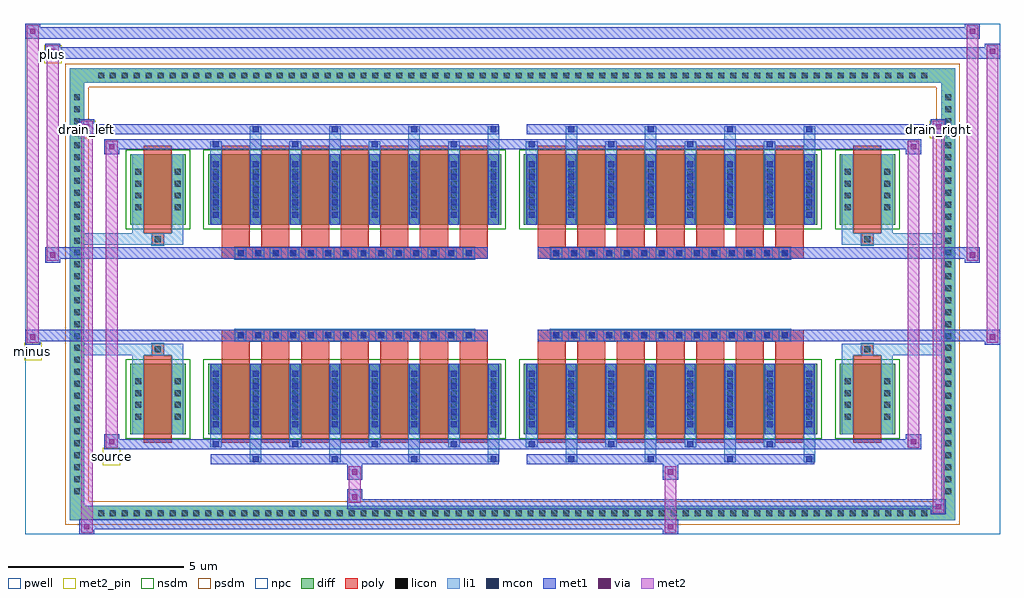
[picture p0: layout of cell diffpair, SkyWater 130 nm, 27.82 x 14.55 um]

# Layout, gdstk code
import gdstk
lib = gdstk.Library(unit=1e-6, precision=5e-09)
def R(c, l, rs):  # rectangles x0, y0, x1, y1
    for r in rs: c.add(gdstk.rectangle(r[:2], r[2:], *l))
def A(c, l, x, y, w, h, nx, ny, dx, dy):  # array of equal rectangles
    R(c, l, [(x+i*dx, y+j*dy, x+i*dx+w, y+j*dy+h) for i in range(nx) for j in range(ny)])
def P(c, l, *ps):  # polygons
    for p in ps: c.add(gdstk.Polygon(p, *l))
pwell = (64, 44)
diff = (65, 20)
poly = (66, 20)
licon = (66, 44)
li1 = (67, 20)
mcon = (67, 44)
met1 = (68, 20)
via = (68, 44)
met2_pin = (69, 16)
met2 = (69, 20)
nsdm = (93, 44)
psdm = (94, 20)
npc = (95, 20)

diffpair = lib.new_cell('diffpair')
R(diffpair, pwell, [(-13.89,-6.84,13.89,7.71), (-11.21,-5.03,-0.01,-0.805), (0.01,-5.03,11.21,-0.805), (-11.21,0.805,-0.01,5.03), (0.01,0.805,11.21,5.03)])
A(diffpair, diff, -11.935, -6.44, 0.41, 0.41, 70, 2, 0.34, 12.47)
A(diffpair, diff, -12.62, -5.815, 0.41, 0.41, 1, 34, 0, 0.34)
A(diffpair, diff, 12.21, -5.815, 0.41, 0.41, 1, 34, 0, 0.34)
R(diffpair, diff, [(-11.935,-6.44,11.935,-6.03), (-12.62,-5.815,-12.21,5.815), (12.21,-5.815,12.62,5.815), (-10.9,-3.985,-9.32,-1.985), (-8.68,-3.985,-0.32,-1.985), (0.32,-3.985,8.68,-1.985), (9.32,-3.985,10.9,-1.985), (-10.9,1.985,-9.32,3.985), (-8.68,1.985,-0.32,3.985), (0.32,1.985,8.68,3.985), (9.32,1.985,10.9,3.985), (-11.935,6.03,11.935,6.44)])
P(diffpair, diff, [(12.62,6.44),(-12.62,6.44),(-12.62,-6.03),(-12.21,-6.03),(-12.21,6.03),(12.21,6.03),(12.21,-6.03),(-12.21,-6.03),(-12.62,-6.03),(-12.62,-6.44),(12.62,-6.44)])
A(diffpair, poly, -8.29, -4.235, 0.8, 2.5, 7, 2, 1.13, 5.97)
A(diffpair, poly, 0.71, -4.235, 0.8, 2.5, 7, 2, 1.13, 5.97)
A(diffpair, poly, -8.29, -1.735, 0.8, 0.4, 7, 2, 1.13, 3.07)
A(diffpair, poly, 0.71, -1.735, 0.8, 0.4, 7, 2, 1.13, 3.07)
A(diffpair, poly, -7.915, -1.335, 0.33, 0.33, 14, 2, 0.5, 2.34)
A(diffpair, poly, 1.085, -1.335, 0.33, 0.33, 14, 2, 0.5, 2.34)
R(diffpair, poly, [(-10.51,-4.235,-9.71,-1.735), (9.71,-4.235,10.51,-1.735), (-10.275,-1.735,-9.945,-1.405), (-10.275,-1.735,-9.945,-1.405), (9.945,-1.735,10.275,-1.405), (9.945,-1.735,10.275,-1.405), (-8.29,-1.335,-0.71,-1.005), (0.71,-1.335,8.29,-1.005), (-8.29,1.005,-0.71,1.335), (0.71,1.005,8.29,1.335), (-10.275,1.405,-9.945,1.735), (-10.275,1.405,-9.945,1.735), (9.945,1.405,10.275,1.735), (9.945,1.405,10.275,1.735), (-10.51,1.735,-9.71,4.235), (9.71,1.735,10.51,4.235)])
A(diffpair, licon, -11.815, -6.32, 0.17, 0.17, 70, 2, 0.34, 12.47)
A(diffpair, licon, -12.5, -5.695, 0.17, 0.17, 1, 34, 0, 0.34)
A(diffpair, licon, 12.33, -5.695, 0.17, 0.17, 1, 34, 0, 0.34)
A(diffpair, licon, -10.76, -3.58, 0.17, 0.17, 1, 4, 0, 0.34)
A(diffpair, licon, -9.63, -3.58, 0.17, 0.17, 1, 4, 0, 0.34)
A(diffpair, licon, -8.54, -3.58, 0.17, 0.17, 8, 4, 1.13, 0.34)
A(diffpair, licon, 0.46, -3.58, 0.17, 0.17, 8, 4, 1.13, 0.34)
A(diffpair, licon, 9.46, -3.58, 0.17, 0.17, 1, 4, 0, 0.34)
A(diffpair, licon, 10.59, -3.58, 0.17, 0.17, 1, 4, 0, 0.34)
A(diffpair, licon, -7.835, -1.255, 0.17, 0.17, 14, 2, 0.5, 2.34)
A(diffpair, licon, 1.165, -1.255, 0.17, 0.17, 14, 2, 0.5, 2.34)
A(diffpair, licon, -10.76, 2.39, 0.17, 0.17, 1, 4, 0, 0.34)
A(diffpair, licon, -9.63, 2.39, 0.17, 0.17, 1, 4, 0, 0.34)
A(diffpair, licon, -8.54, 2.39, 0.17, 0.17, 8, 4, 1.13, 0.34)
A(diffpair, licon, 0.46, 2.39, 0.17, 0.17, 8, 4, 1.13, 0.34)
A(diffpair, licon, 9.46, 2.39, 0.17, 0.17, 1, 4, 0, 0.34)
A(diffpair, licon, 10.59, 2.39, 0.17, 0.17, 1, 4, 0, 0.34)
R(diffpair, licon, [(-10.195,-1.655,-10.025,-1.485), (10.025,-1.655,10.195,-1.485), (-10.195,1.485,-10.025,1.655), (10.025,1.485,10.195,1.655)])
A(diffpair, li1, -11.895, -6.4, 0.33, 0.33, 70, 2, 0.34, 12.47)
A(diffpair, li1, -12.58, -5.775, 0.33, 0.33, 1, 34, 0, 0.34)
A(diffpair, li1, 12.25, -5.775, 0.33, 0.33, 1, 34, 0, 0.34)
A(diffpair, li1, -7.49, -4.79, 0.33, 0.805, 4, 2, 2.26, 8.775)
A(diffpair, li1, -7.41, -4.79, 0.17, 0.17, 4, 2, 2.26, 9.41)
A(diffpair, li1, 1.51, -4.79, 0.33, 0.805, 4, 2, 2.26, 8.775)
A(diffpair, li1, 1.59, -4.79, 0.17, 0.17, 4, 2, 2.26, 9.41)
A(diffpair, li1, -8.62, -4.36, 0.33, 0.375, 4, 2, 2.26, 8.345)
A(diffpair, li1, -8.54, -4.36, 0.17, 0.17, 4, 2, 2.26, 8.55)
A(diffpair, li1, 0.38, -4.36, 0.33, 0.375, 4, 2, 2.26, 8.345)
A(diffpair, li1, 0.46, -4.36, 0.17, 0.17, 4, 2, 2.26, 8.55)
A(diffpair, li1, -8.62, -3.985, 0.33, 2, 8, 2, 1.13, 5.97)
A(diffpair, li1, 0.38, -3.985, 0.33, 2, 8, 2, 1.13, 5.97)
A(diffpair, li1, -8.54, -3.79, 0.17, 0.17, 8, 5, 1.13, 0.36)
A(diffpair, li1, -8.54, -3.79, 0.17, 1.61, 8, 2, 1.13, 5.97)
A(diffpair, li1, 0.46, -3.79, 0.17, 0.17, 8, 5, 1.13, 0.36)
A(diffpair, li1, 0.46, -3.79, 0.17, 1.61, 8, 2, 1.13, 5.97)
A(diffpair, li1, -10.84, -3.66, 0.33, 0.33, 1, 4, 0, 0.34)
A(diffpair, li1, -9.71, -3.66, 0.33, 0.33, 1, 4, 0, 0.34)
A(diffpair, li1, -8.62, -3.66, 0.33, 0.33, 8, 4, 1.13, 0.34)
A(diffpair, li1, 0.38, -3.66, 0.33, 0.33, 8, 4, 1.13, 0.34)
A(diffpair, li1, 9.38, -3.66, 0.33, 0.33, 1, 4, 0, 0.34)
A(diffpair, li1, 10.51, -3.66, 0.33, 0.33, 1, 4, 0, 0.34)
A(diffpair, li1, -7.915, -1.335, 0.33, 0.33, 14, 2, 0.5, 2.34)
A(diffpair, li1, 1.085, -1.335, 0.33, 0.33, 14, 2, 0.5, 2.34)
A(diffpair, li1, -8.54, 2.18, 0.17, 0.17, 8, 5, 1.13, 0.36)
A(diffpair, li1, 0.46, 2.18, 0.17, 0.17, 8, 5, 1.13, 0.36)
A(diffpair, li1, -10.84, 2.31, 0.33, 0.33, 1, 4, 0, 0.34)
A(diffpair, li1, -9.71, 2.31, 0.33, 0.33, 1, 4, 0, 0.34)
A(diffpair, li1, -8.62, 2.31, 0.33, 0.33, 8, 4, 1.13, 0.34)
A(diffpair, li1, 0.38, 2.31, 0.33, 0.33, 8, 4, 1.13, 0.34)
A(diffpair, li1, 9.38, 2.31, 0.33, 0.33, 1, 4, 0, 0.34)
A(diffpair, li1, 10.51, 2.31, 0.33, 0.33, 1, 4, 0, 0.34)
R(diffpair, li1, [(-12.62,-6.44,-12.21,-6.03), (-12.62,-6.44,-12.21,-6.03), (-12.21,-6.44,12.21,-6.03), (12.21,-6.44,12.62,-6.03), (12.21,-6.44,12.62,-6.03), (-12.62,-6.03,-12.21,6.03), (12.21,-6.03,12.62,6.03), (-10.84,-3.985,-10.51,-1.985), (-9.71,-3.985,-9.38,-1.985), (9.38,-3.985,9.71,-1.985), (10.51,-3.985,10.84,-1.985), (-10.84,-1.985,-10.51,-1.405), (-9.71,-1.985,-9.38,-1.405), (9.38,-1.985,9.71,-1.405), (10.51,-1.985,10.84,-1.405), (-12.62,-1.735,-10.275,-1.405), (-10.84,-1.735,-10.275,-1.405), (-10.275,-1.735,-9.945,-1.405), (-9.945,-1.735,-9.38,-1.405), (9.38,-1.735,9.945,-1.405), (9.945,-1.735,10.275,-1.405), (9.945,-1.735,12.62,-1.405), (10.275,-1.735,10.84,-1.405), (-12.62,1.405,-10.275,1.735), (-10.84,1.405,-10.275,1.735), (-10.84,1.405,-10.51,1.985), (-10.275,1.405,-9.945,1.735), (-9.945,1.405,-9.38,1.735), (-9.71,1.405,-9.38,1.985), (9.38,1.405,9.945,1.735), (9.38,1.405,9.71,1.985), (9.945,1.405,10.275,1.735), (9.945,1.405,12.62,1.735), (10.275,1.405,10.84,1.735), (10.51,1.405,10.84,1.985), (-10.84,1.985,-10.51,3.985), (-9.71,1.985,-9.38,3.985), (9.38,1.985,9.71,3.985), (10.51,1.985,10.84,3.985), (-12.62,6.03,-12.21,6.44), (-12.62,6.03,-12.21,6.44), (-12.21,6.03,12.21,6.44), (12.21,6.03,12.62,6.44), (12.21,6.03,12.62,6.44)])
A(diffpair, mcon, -7.41, -4.79, 0.17, 0.17, 4, 2, 2.26, 9.41)
A(diffpair, mcon, 1.59, -4.79, 0.17, 0.17, 4, 2, 2.26, 9.41)
A(diffpair, mcon, -8.54, -4.36, 0.17, 0.17, 4, 2, 2.26, 8.55)
A(diffpair, mcon, 0.46, -4.36, 0.17, 0.17, 4, 2, 2.26, 8.55)
A(diffpair, mcon, -8.54, -3.79, 0.17, 0.17, 8, 5, 1.13, 0.36)
A(diffpair, mcon, 0.46, -3.79, 0.17, 0.17, 8, 5, 1.13, 0.36)
A(diffpair, mcon, -7.835, -1.255, 0.17, 0.17, 14, 2, 0.5, 2.34)
A(diffpair, mcon, 1.165, -1.255, 0.17, 0.17, 14, 2, 0.5, 2.34)
A(diffpair, mcon, -8.54, 2.18, 0.17, 0.17, 8, 5, 1.13, 0.36)
A(diffpair, mcon, 0.46, 2.18, 0.17, 0.17, 8, 5, 1.13, 0.36)
A(diffpair, met1, -7.47, -4.85, 0.29, 0.29, 4, 2, 2.26, 9.41)
A(diffpair, met1, 1.53, -4.85, 0.29, 0.29, 4, 2, 2.26, 9.41)
A(diffpair, met1, -8.6, -4.42, 0.29, 0.29, 4, 2, 2.26, 8.55)
A(diffpair, met1, 0.4, -4.42, 0.29, 0.29, 4, 2, 2.26, 8.55)
A(diffpair, met1, -8.6, -3.985, 0.29, 2, 8, 2, 1.13, 5.97)
A(diffpair, met1, 0.4, -3.985, 0.29, 2, 8, 2, 1.13, 5.97)
A(diffpair, met1, -8.6, -3.85, 0.29, 0.29, 8, 5, 1.13, 0.36)
A(diffpair, met1, 0.4, -3.85, 0.29, 0.29, 8, 5, 1.13, 0.36)
A(diffpair, met1, -7.895, -1.315, 0.29, 0.29, 14, 2, 0.5, 2.34)
A(diffpair, met1, 1.105, -1.315, 0.29, 0.29, 14, 2, 0.5, 2.34)
A(diffpair, met1, -8.6, 2.12, 0.29, 0.29, 8, 5, 1.13, 0.36)
A(diffpair, met1, 0.4, 2.12, 0.29, 0.29, 8, 5, 1.13, 0.36)
R(diffpair, met1, [(-12.35,-6.84,-11.92,-6.41), (4.285,-6.84,4.715,-6.41), (-12.35,-6.7,4.715,-6.41), (11.92,-6.27,12.35,-5.84), (-4.715,-6.13,12.35,-5.84), (-4.715,-5.99,-4.285,-5.56), (-4.715,-5.28,-4.285,-4.85), (4.285,-5.28,4.715,-4.85), (-8.6,-4.85,-0.4,-4.56), (0.4,-4.85,8.6,-4.56), (-11.64,-4.42,-11.21,-3.99), (-11.64,-4.42,-8.6,-4.13), (-8.6,-4.42,-0.4,-4.13), (-0.4,-4.42,0.4,-4.13), (0.4,-4.42,8.6,-4.13), (8.6,-4.42,11.64,-4.13), (11.21,-4.42,11.64,-3.99), (-13.89,-1.435,-13.46,-1.005), (13.46,-1.435,13.89,-1.005), (-13.89,-1.335,-0.71,-1.005), (-8.29,-1.335,-0.71,-1.005), (0.71,-1.335,8.29,-1.005), (0.71,-1.335,13.89,-1.005), (-13.32,0.905,-12.89,1.335), (12.89,0.905,13.32,1.335), (-13.32,1.005,-8.29,1.335), (-8.29,1.005,-0.71,1.335), (0.71,1.005,8.29,1.335), (8.29,1.005,13.32,1.335), (-11.64,3.99,-11.21,4.42), (11.21,3.99,11.64,4.42), (-11.64,4.13,-8.6,4.42), (-8.6,4.13,-0.4,4.42), (-0.4,4.13,0.4,4.42), (0.4,4.13,8.6,4.42), (8.6,4.13,11.64,4.42), (-12.35,4.56,-11.92,4.99), (-12.35,4.56,-8.6,4.85), (-8.6,4.56,-0.4,4.85), (0.4,4.56,8.6,4.85), (8.6,4.56,12.35,4.85), (11.92,4.56,12.35,4.99), (-13.32,6.71,-12.89,7.14), (-13.32,6.71,-11.21,7.04), (-11.21,6.71,11.21,7.04), (11.21,6.71,13.89,7.04), (13.46,6.71,13.89,7.14), (-13.89,7.28,-13.46,7.71), (-13.89,7.28,-11.21,7.61), (-11.21,7.28,11.21,7.61), (11.21,7.28,13.32,7.61), (12.89,7.28,13.32,7.71)])
R(diffpair, via, [(-12.21,-6.7,-12.06,-6.55), (4.425,-6.7,4.575,-6.55), (12.06,-6.13,12.21,-5.98), (-4.575,-5.85,-4.425,-5.7), (-4.575,-5.14,-4.425,-4.99), (4.425,-5.14,4.575,-4.99), (-11.5,-4.28,-11.35,-4.13), (11.35,-4.28,11.5,-4.13), (-13.75,-1.295,-13.6,-1.145), (13.6,-1.295,13.75,-1.145), (-13.18,1.045,-13.03,1.195), (13.03,1.045,13.18,1.195), (-11.5,4.13,-11.35,4.28), (11.35,4.13,11.5,4.28), (-12.21,4.7,-12.06,4.85), (12.06,4.7,12.21,4.85), (-13.18,6.85,-13.03,7), (13.6,6.85,13.75,7), (-13.75,7.42,-13.6,7.57), (13.03,7.42,13.18,7.57)])
R(diffpair, met2_pin, [(-11.675,-4.87,-11.175,-4.37), (-13.925,-1.885,-13.425,-1.385), (-12.385,4.44,-11.885,4.94), (11.885,4.44,12.385,4.94), (-13.355,6.59,-12.855,7.09)])
R(diffpair, met2, [(-12.3,-6.79,-11.97,-6.46), (-12.3,-6.79,-11.97,4.94), (4.335,-6.79,4.665,-6.46), (4.335,-6.46,4.665,-5.23), (11.97,-6.22,12.3,-5.89), (11.97,-6.22,12.3,4.94), (-4.665,-5.94,-4.335,-5.61), (-4.665,-5.61,-4.335,-5.23), (-4.665,-5.23,-4.335,-4.9), (4.335,-5.23,4.665,-4.9), (-11.59,-4.37,-11.26,-4.04), (-11.59,-4.37,-11.26,4.37), (11.26,-4.37,11.59,-4.04), (11.26,-4.37,11.59,4.37), (-13.84,-1.385,-13.51,-1.055), (-13.84,-1.385,-13.51,7.66), (13.51,-1.385,13.84,-1.055), (13.51,-1.385,13.84,7.09), (-13.27,0.955,-12.94,1.285), (-13.27,0.955,-12.94,7.09), (12.94,0.955,13.27,1.285), (12.94,0.955,13.27,7.66), (-11.59,4.04,-11.26,4.37), (11.26,4.04,11.59,4.37), (-12.3,4.61,-11.97,4.94), (11.97,4.61,12.3,4.94), (-13.27,6.76,-12.94,7.09), (13.51,6.76,13.84,7.09), (-13.84,7.33,-13.51,7.66), (12.94,7.33,13.27,7.66)])
P(diffpair, met2, [(13.84,-1.385),(13.84,-1.385),(13.84,-1.055),(13.84,-1.055)],
  [(13.84,6.76),(13.84,6.76),(13.84,7.09),(13.84,7.09)],
  [(-13.51,-1.385),(-13.51,-1.385),(-13.51,-1.055),(-13.51,-1.055)],
  [(-13.51,7.33),(-13.51,7.33),(-13.51,7.66),(-13.51,7.66)],
  [(13.27,0.955),(13.27,0.955),(13.27,1.285),(13.27,1.285)],
  [(13.27,7.33),(13.27,7.33),(13.27,7.66),(13.27,7.66)],
  [(-12.94,0.955),(-12.94,0.955),(-12.94,1.285),(-12.94,1.285)],
  [(-12.94,6.76),(-12.94,6.76),(-12.94,7.09),(-12.94,7.09)],
  [(-11.97,-6.79),(-11.97,-6.79),(-11.97,-6.46),(-11.97,-6.46)],
  [(-11.97,4.61),(-11.97,4.61),(-11.97,4.94),(-11.97,4.94)],
  [(12.3,-6.22),(12.3,-6.22),(12.3,-5.89),(12.3,-5.89)],
  [(12.3,4.61),(12.3,4.61),(12.3,4.94),(12.3,4.94)],
  [(-11.26,-4.37),(-11.26,-4.37),(-11.26,-4.04),(-11.26,-4.04)],
  [(-11.26,4.04),(-11.26,4.04),(-11.26,4.37),(-11.26,4.37)],
  [(11.59,-4.37),(11.59,-4.37),(11.59,-4.04),(11.59,-4.04)],
  [(11.59,4.04),(11.59,4.04),(11.59,4.37),(11.59,4.37)])
R(diffpair, nsdm, [(-11.03,-4.115,-9.19,-1.855), (-8.81,-4.115,-0.19,-1.855), (0.19,-4.115,8.81,-1.855), (9.19,-4.115,11.03,-1.855), (-11.03,1.855,-9.19,4.115), (-8.81,1.855,-0.19,4.115), (0.19,1.855,8.81,4.115), (9.19,1.855,11.03,4.115)])
P(diffpair, psdm, [(12.75,6.57),(-12.75,6.57),(-12.75,-5.9),(-12.08,-5.9),(-12.08,5.9),(12.08,5.9),(12.08,-5.9),(-12.08,-5.9),(-12.75,-5.9),(-12.75,-6.57),(12.75,-6.57)])
A(diffpair, npc, -7.935, -1.355, 0.37, 0.37, 14, 2, 0.5, 2.34)
A(diffpair, npc, 1.065, -1.355, 0.37, 0.37, 14, 2, 0.5, 2.34)
R(diffpair, npc, [(-10.295,-1.755,-9.925,-1.385), (9.925,-1.755,10.295,-1.385), (-7.935,-1.355,-7.065,-0.985), (-7.935,-1.355,-7.065,-0.985), (-7.435,-1.355,-6.565,-0.985), (-7.435,-1.355,-6.565,-0.985), (-6.935,-1.355,-6.065,-0.985), (-6.935,-1.355,-6.065,-0.985), (-6.435,-1.355,-5.565,-0.985), (-6.435,-1.355,-5.565,-0.985), (-5.935,-1.355,-5.065,-0.985), (-5.935,-1.355,-5.065,-0.985), (-5.435,-1.355,-4.565,-0.985), (-5.435,-1.355,-4.565,-0.985), (-4.935,-1.355,-4.065,-0.985), (-4.935,-1.355,-4.065,-0.985), (-4.435,-1.355,-3.565,-0.985), (-4.435,-1.355,-3.565,-0.985), (-3.935,-1.355,-3.065,-0.985), (-3.935,-1.355,-3.065,-0.985), (-3.435,-1.355,-2.565,-0.985), (-3.435,-1.355,-2.565,-0.985), (-2.935,-1.355,-2.065,-0.985), (-2.935,-1.355,-2.065,-0.985), (-2.435,-1.355,-1.565,-0.985), (-2.435,-1.355,-1.565,-0.985), (-1.935,-1.355,-1.065,-0.985), (-1.935,-1.355,-1.065,-0.985), (1.065,-1.355,1.935,-0.985), (1.065,-1.355,1.935,-0.985), (1.565,-1.355,2.435,-0.985), (1.565,-1.355,2.435,-0.985), (2.065,-1.355,2.935,-0.985), (2.065,-1.355,2.935,-0.985), (2.565,-1.355,3.435,-0.985), (2.565,-1.355,3.435,-0.985), (3.065,-1.355,3.935,-0.985), (3.065,-1.355,3.935,-0.985), (3.565,-1.355,4.435,-0.985), (3.565,-1.355,4.435,-0.985), (4.065,-1.355,4.935,-0.985), (4.065,-1.355,4.935,-0.985), (4.565,-1.355,5.435,-0.985), (4.565,-1.355,5.435,-0.985), (5.065,-1.355,5.935,-0.985), (5.065,-1.355,5.935,-0.985), (5.565,-1.355,6.435,-0.985), (5.565,-1.355,6.435,-0.985), (6.065,-1.355,6.935,-0.985), (6.065,-1.355,6.935,-0.985), (6.565,-1.355,7.435,-0.985), (6.565,-1.355,7.435,-0.985), (7.065,-1.355,7.935,-0.985), (7.065,-1.355,7.935,-0.985), (-7.935,0.985,-7.065,1.355), (-7.935,0.985,-7.065,1.355), (-7.435,0.985,-6.565,1.355), (-7.435,0.985,-6.565,1.355), (-6.935,0.985,-6.065,1.355), (-6.935,0.985,-6.065,1.355), (-6.435,0.985,-5.565,1.355), (-6.435,0.985,-5.565,1.355), (-5.935,0.985,-5.065,1.355), (-5.935,0.985,-5.065,1.355), (-5.435,0.985,-4.565,1.355), (-5.435,0.985,-4.565,1.355), (-4.935,0.985,-4.065,1.355), (-4.935,0.985,-4.065,1.355), (-4.435,0.985,-3.565,1.355), (-4.435,0.985,-3.565,1.355), (-3.935,0.985,-3.065,1.355), (-3.935,0.985,-3.065,1.355), (-3.435,0.985,-2.565,1.355), (-3.435,0.985,-2.565,1.355), (-2.935,0.985,-2.065,1.355), (-2.935,0.985,-2.065,1.355), (-2.435,0.985,-1.565,1.355), (-2.435,0.985,-1.565,1.355), (-1.935,0.985,-1.065,1.355), (-1.935,0.985,-1.065,1.355), (1.065,0.985,1.935,1.355), (1.065,0.985,1.935,1.355), (1.565,0.985,2.435,1.355), (1.565,0.985,2.435,1.355), (2.065,0.985,2.935,1.355), (2.065,0.985,2.935,1.355), (2.565,0.985,3.435,1.355), (2.565,0.985,3.435,1.355), (3.065,0.985,3.935,1.355), (3.065,0.985,3.935,1.355), (3.565,0.985,4.435,1.355), (3.565,0.985,4.435,1.355), (4.065,0.985,4.935,1.355), (4.065,0.985,4.935,1.355), (4.565,0.985,5.435,1.355), (4.565,0.985,5.435,1.355), (5.065,0.985,5.935,1.355), (5.065,0.985,5.935,1.355), (5.565,0.985,6.435,1.355), (5.565,0.985,6.435,1.355), (6.065,0.985,6.935,1.355), (6.065,0.985,6.935,1.355), (6.565,0.985,7.435,1.355), (6.565,0.985,7.435,1.355), (7.065,0.985,7.935,1.355), (7.065,0.985,7.935,1.355), (-10.295,1.385,-9.925,1.755), (9.925,1.385,10.295,1.755)])
diffpair.add(gdstk.Label('minus', (-13.675,-1.635), layer=69, texttype=5))
diffpair.add(gdstk.Label('drain_right', (12.135,4.69), layer=69, texttype=5))
diffpair.add(gdstk.Label('drain_left', (-12.135,4.69), layer=69, texttype=5))
diffpair.add(gdstk.Label('source', (-11.425,-4.62), layer=69, texttype=5))
diffpair.add(gdstk.Label('plus', (-13.105,6.84), layer=69, texttype=5))

lib.write_gds('diffpair.gds')
